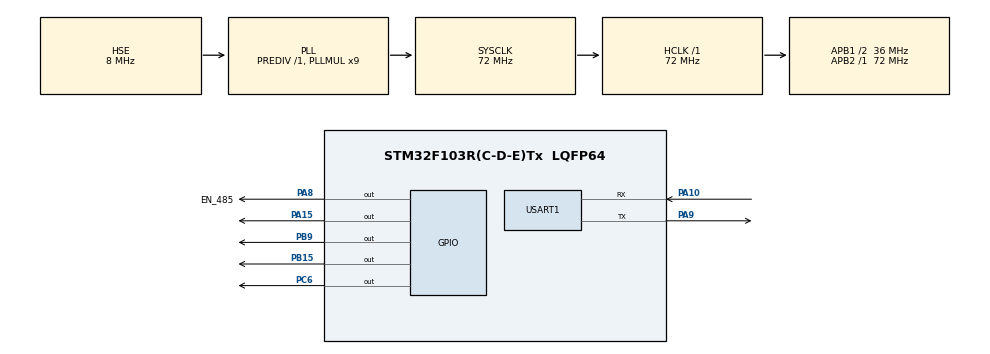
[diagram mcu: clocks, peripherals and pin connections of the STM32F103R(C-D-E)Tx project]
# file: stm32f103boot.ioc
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Mcu.Family=STM32F1
Mcu.Name=STM32F103R(C-D-E)Tx
Mcu.Package=LQFP64
NVIC.PriorityGroup=NVIC_PRIORITYGROUP_4
NVIC.USART1_IRQn=true\:0\:0\:false\:false\:true\:true\:true\:true
PA10.Mode=Asynchronous
PA10.Signal=USART1_RX
PA13.Mode=Serial_Wire
PA13.Signal=SYS_JTMS-SWDIO
PA14.Mode=Serial_Wire
PA14.Signal=SYS_JTCK-SWCLK
PA15.GPIO_PuPd=GPIO_PULLUP
PA15.GPIO_Speed=GPIO_SPEED_FREQ_HIGH
PA15.PinState=GPIO_PIN_SET
PA15.Signal=GPIO_Output
PA8.GPIO_Label=EN_485
PA8.GPIO_PuPd=GPIO_PULLUP
PA8.PinState=GPIO_PIN_SET
PA8.Signal=GPIO_Output
PA9.GPIO_Speed=GPIO_SPEED_FREQ_HIGH
PA9.Mode=Asynchronous
PA9.Signal=USART1_TX
PB15.GPIO_Speed=GPIO_SPEED_FREQ_HIGH
PB15.PinState=GPIO_PIN_SET
PB15.Signal=GPIO_Output
PB9.GPIO_Speed=GPIO_SPEED_FREQ_HIGH
PB9.PinState=GPIO_PIN_SET
PB9.Signal=GPIO_Output
PC6.GPIO_PuPd=GPIO_PULLUP
PC6.GPIO_Speed=GPIO_SPEED_FREQ_HIGH
PC6.PinState=GPIO_PIN_SET
PC6.Signal=GPIO_Output
PD0-OSC_IN.Mode=HSE-External-Oscillator
PD0-OSC_IN.Signal=RCC_OSC_IN
PD1-OSC_OUT.Mode=HSE-External-Oscillator
PD1-OSC_OUT.Signal=RCC_OSC_OUT
ProjectManager.HeapSize=0x200
ProjectManager.StackSize=0x400
ProjectManager.TargetToolchain=MDK-ARM V5.32
RCC.AHBFreq_Value=72000000
RCC.APB1CLKDivider=RCC_HCLK_DIV2
RCC.APB1Freq_Value=36000000
RCC.APB1TimFreq_Value=72000000
RCC.APB2Freq_Value=72000000
RCC.APB2TimFreq_Value=72000000
RCC.HCLKFreq_Value=72000000
RCC.PLLMUL=RCC_PLL_MUL9
RCC.PLLSourceVirtual=RCC_PLLSOURCE_HSE
RCC.SYSCLKFreq_VALUE=72000000
RCC.SYSCLKSource=RCC_SYSCLKSOURCE_PLLCLK
RCC.USBFreq_Value=72000000
USART1.VirtualMode=VM_ASYNC
board=custom

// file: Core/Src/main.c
/* USER CODE BEGIN Header */
/**
  ******************************************************************************
  * @file           : main.c
  * @brief          : Main program body
  ******************************************************************************
  * @attention
  *
  * Copyright (c) 2024 STMicroelectronics.
  * All rights reserved.
  *
  * This software is licensed under terms that can be found in the LICENSE file
  * in the root directory of this software component.
  * If no LICENSE file comes with this software, it is provided AS-IS.
  *
  ******************************************************************************
  */
/* USER CODE END Header */
#include "main.h"
#include "usart.h"
#include "gpio.h"

/* USER CODE BEGIN Includes */
#include "check_agent_engine.h"
#include "ymodem_ota.h"
#include "micro_shell.h"
#include "multiple_delay.h"
/* USER CODE END Includes */

void SystemClock_Config(void);

/* USER CODE BEGIN 0 */

__attribute__((aligned(32)))
uint8_t s_chBuffer[2048] ;
static byte_queue_t                  s_tCheckUsePeekQueue;
static fsm_check_use_peek_t          s_fsmCheckUsePeek;
static ymodem_ota_recive_t           s_tYmodemOtaReceive;
static check_agent_shell_t           s_tShellObj;
multiple_delay_t                     tDelayService;
static uint8_t s_chDelayPool[10 * sizeof(multiple_delay_item_t)];
static multiple_delay_item_t *s_ptDelayBootItem = NULL;

int reboot(void)
{
    SCB->AIRCR = 0X05FA0000 | (uint32_t)0x04;
    return 0;
}
MSH_CMD_EXPORT(reboot, reboot)

int64_t get_system_time_ms(void)
{
    return HAL_GetTick();
}

uint16_t shell_read_data(micro_shell_t *ptObj, char *pchBuffer, uint16_t hwSize)
{
    peek_byte_t *ptReadByte = get_read_byte_interface(&s_fsmCheckUsePeek);
    return ptReadByte->fnGetByte(ptReadByte, (uint8_t *)pchBuffer, hwSize);
}

uint16_t shell_write_data(micro_shell_t *ptObj, const char *pchBuffer, uint16_t hwSize)
{
    HAL_GPIO_WritePin(EN_485_GPIO_Port, EN_485_Pin, GPIO_PIN_SET);
	HAL_UART_Transmit(&huart1, (uint8_t *)pchBuffer, hwSize, 100);
	HAL_GPIO_WritePin(EN_485_GPIO_Port, EN_485_Pin, GPIO_PIN_RESET);
	return hwSize;
}

/*
 * @brief  Boot control flag stored in NOINIT section.
 *         This variable is preserved across reset and used to control
 *         whether the system should jump to APP after reboot.
 */
NOINIT
static volatile uint32_t s_wEnterAppFlag;
#define ENTER_APP_FLAG   0x55555555 /* Magic value indicating that APP entry is allowed */

/*
 * @brief  Check if entering APP is allowed.
 * @retval true  APP can be entered
 * @retval false Stay in bootloader
 */
bool can_enter_app(void)
{
    return (s_wEnterAppFlag == ENTER_APP_FLAG);
}

/*
 * @brief  Enable APP entry.
 *         This sets the flag so that after reboot the system jumps to APP.
 */
void enable_enter_app(void)
{
    s_wEnterAppFlag = ENTER_APP_FLAG;
}

/*
 * @brief  Decide whether to stay in bootloader.
 * @retval true  Stay in bootloader
 * @retval false Jump to APP
 */
bool user_enter_bootloader(void)
{
    return !can_enter_app();
}

/*
 * @brief  Delay timer callback.
 *         If timeout occurs and APP entry is not yet enabled,
 *         enable it and reboot to enter APP.
 *
 * @param  status Timer status
 * @param  pTag   User context (unused)
 */
void on_delay_event(multiple_delay_report_status_t status, void *pTag)
{
    user_magic_data_t *ptMagicData = (user_magic_data_t *)pTag;
    if (status == MULTIPLE_DELAY_TIMEOUT) {
		if(!can_enter_app()){
		    enable_enter_app();
            reboot();/* Reboot to apply APP entry */
		}
    }
	s_ptDelayBootItem = NULL;
}

/*
 * @brief  Shell command: enter APP immediately.
 *         Cancel delay and allow APP entry.
 */
int boot(void)
{
	enable_enter_app();
	if(s_ptDelayBootItem != NULL){
        MULTIPLE_DELAY.Cancel(&tDelayService,s_ptDelayBootItem);
	}
    return 0;
}
MSH_CMD_EXPORT(boot, enter bootloader)

void ymodem_state_handler(ymodem_state_t state)
{
    if(state == STATE_FINSH){
		enable_enter_app();
		reboot();
	}
}
/* USER CODE END 0 */

int main(void)
{

  /* MCU Configuration--------------------------------------------------------*/

  /* Reset of all peripherals, Initializes the Flash interface and the Systick. */
  HAL_Init();

  /* USER CODE BEGIN Init */
    /* Set the Vector Table base location at 0x08000000 */

  /* USER CODE END Init */

  /* Configure the system clock */
  SystemClock_Config();

  /* Initialize all configured peripherals */
  MX_GPIO_Init();
  MX_USART1_UART_Init();
  /* USER CODE BEGIN 2 */

    queue_init(&s_tCheckUsePeekQueue, s_chBuffer, sizeof(s_chBuffer));
    init_fsm(check_use_peek, &s_fsmCheckUsePeek, args(&s_tCheckUsePeekQueue));

    ymodem_ota_receive_init(&s_tYmodemOtaReceive, get_read_byte_interface(&s_fsmCheckUsePeek));
    agent_register(&s_fsmCheckUsePeek, &s_tYmodemOtaReceive.tCheckAgent);
	connect(&s_tYmodemOtaReceive.tYmodemReceive, SIGNAL(ymodem_rec_sig), &huart1, SLOT(uart_sent_data));
    connect(&tUartMsgObj, SIGNAL(uart_sig), &s_tCheckUsePeekQueue, SLOT(enqueue_bytes));

    shell_ops_t s_tOps = {
        .fnReadData = shell_read_data,
		.fnWriteData = shell_write_data,
    };
    shell_agent_init(&s_tShellObj,&s_tOps);
	agent_register(&s_fsmCheckUsePeek, &s_tShellObj.tCheckAgent);

    multiple_delay_cfg_t cfg = {
        .pchBuffer = s_chDelayPool,
        .nSize = sizeof(s_chDelayPool),
    };
    MULTIPLE_DELAY.Init(&tDelayService, &cfg);

    s_ptDelayBootItem = MULTIPLE_DELAY.RequestDelay(
        &tDelayService,
        1000,
        MULTIPLE_DELAY_NORMAL_PRIORITY,
        &tUserMagicData,
        on_delay_event
    );
  /* USER CODE END 2 */

  /* Infinite loop */
  while (1)
  {

    /* USER CODE BEGIN 3 */
        check_use_peek_task(&s_fsmCheckUsePeek );
	    MULTIPLE_DELAY.Task(&tDelayService);
  }
  /* USER CODE END 3 */
}

void SystemClock_Config(void)
{
  RCC_OscInitTypeDef RCC_OscInitStruct = {0};
  RCC_ClkInitTypeDef RCC_ClkInitStruct = {0};

  /** Initializes the RCC Oscillators according to the specified parameters
  * in the RCC_OscInitTypeDef structure.
  */
  RCC_OscInitStruct.OscillatorType = RCC_OSCILLATORTYPE_HSE;
  RCC_OscInitStruct.HSEState = RCC_HSE_ON;
  RCC_OscInitStruct.HSEPredivValue = RCC_HSE_PREDIV_DIV1;
  RCC_OscInitStruct.HSIState = RCC_HSI_ON;
  RCC_OscInitStruct.PLL.PLLState = RCC_PLL_ON;
  RCC_OscInitStruct.PLL.PLLSource = RCC_PLLSOURCE_HSE;
  RCC_OscInitStruct.PLL.PLLMUL = RCC_PLL_MUL9;
  if (HAL_RCC_OscConfig(&RCC_OscInitStruct) != HAL_OK)
  {
    Error_Handler();
  }

  /** Initializes the CPU, AHB and APB buses clocks
  */
  RCC_ClkInitStruct.ClockType = RCC_CLOCKTYPE_HCLK|RCC_CLOCKTYPE_SYSCLK
                              |RCC_CLOCKTYPE_PCLK1|RCC_CLOCKTYPE_PCLK2;
  RCC_ClkInitStruct.SYSCLKSource = RCC_SYSCLKSOURCE_PLLCLK;
  RCC_ClkInitStruct.AHBCLKDivider = RCC_SYSCLK_DIV1;
  RCC_ClkInitStruct.APB1CLKDivider = RCC_HCLK_DIV2;
  RCC_ClkInitStruct.APB2CLKDivider = RCC_HCLK_DIV1;

  if (HAL_RCC_ClockConfig(&RCC_ClkInitStruct, FLASH_LATENCY_2) != HAL_OK)
  {
    Error_Handler();
  }
}

void Error_Handler(void)
{
  __disable_irq();
  while (1)
  {
  }
}
